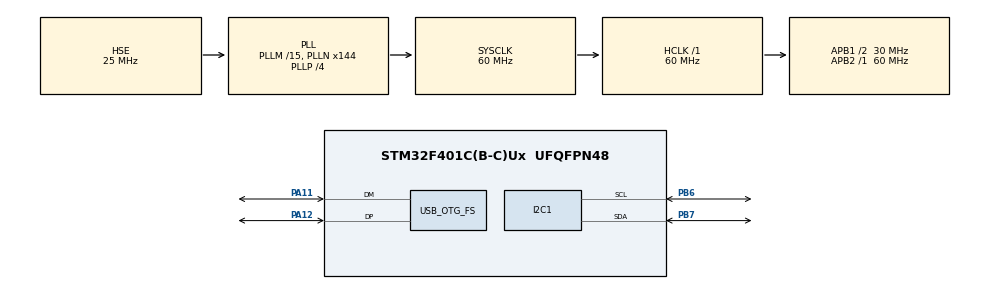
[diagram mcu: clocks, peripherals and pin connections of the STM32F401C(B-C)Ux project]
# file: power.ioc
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I2C1.I2C_Mode=I2C_Fast
Mcu.Family=STM32F4
Mcu.Name=STM32F401C(B-C)Ux
Mcu.Package=UFQFPN48
NVIC.OTG_FS_IRQn=true\:0\:0\:false\:false\:true\:false\:true\:true
NVIC.PriorityGroup=NVIC_PRIORITYGROUP_4
PA11.Mode=Device_Only
PA11.Signal=USB_OTG_FS_DM
PA12.Mode=Device_Only
PA12.Signal=USB_OTG_FS_DP
PA13.Mode=Serial_Wire
PA13.Signal=SYS_JTMS-SWDIO
PA14.Mode=Serial_Wire
PA14.Signal=SYS_JTCK-SWCLK
PB6.Mode=I2C
PB6.Signal=I2C1_SCL
PB7.Mode=I2C
PB7.Signal=I2C1_SDA
PH0\ -\ OSC_IN.Mode=HSE-External-Oscillator
PH0\ -\ OSC_IN.Signal=RCC_OSC_IN
PH1\ -\ OSC_OUT.Mode=HSE-External-Oscillator
PH1\ -\ OSC_OUT.Signal=RCC_OSC_OUT
ProjectManager.HeapSize=0x1000
ProjectManager.StackSize=0x1000
ProjectManager.TargetToolchain=MDK-ARM V5.32
RCC.48MHZClocksFreq_Value=48000000
RCC.AHBFreq_Value=60000000
RCC.APB1CLKDivider=RCC_HCLK_DIV2
RCC.APB1Freq_Value=30000000
RCC.APB1TimFreq_Value=60000000
RCC.APB2Freq_Value=60000000
RCC.APB2TimFreq_Value=60000000
RCC.CortexFreq_Value=60000000
RCC.HCLKFreq_Value=60000000
RCC.HSE_VALUE=25000000
RCC.HSI_VALUE=16000000
RCC.LSE_VALUE=32768
RCC.PLLM=15
RCC.PLLN=144
RCC.PLLP=RCC_PLLP_DIV4
RCC.PLLQ=5
RCC.SYSCLKFreq_VALUE=60000000
RCC.SYSCLKSource=RCC_SYSCLKSOURCE_PLLCLK
RCC.VCOOutputFreq_Value=240000000
USB_DEVICE.CLASS_NAME_FS=CDC
USB_DEVICE.VirtualMode=Cdc
USB_DEVICE.VirtualModeFS=Cdc_FS
USB_OTG_FS.VirtualMode=Device_Only
VP_USB_DEVICE_VS_USB_DEVICE_CDC_FS.Mode=CDC_FS
board=custom

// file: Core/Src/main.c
/* USER CODE BEGIN Header */
/**
  ******************************************************************************
  * @file           : main.c
  * @brief          : Main program body
  ******************************************************************************
  * @attention
  *
  * Copyright (c) 2026 STMicroelectronics.
  * All rights reserved.
  *
  * This software is licensed under terms that can be found in the LICENSE file
  * in the root directory of this software component.
  * If no LICENSE file comes with this software, it is provided AS-IS.
  *
  ******************************************************************************
  */
/* USER CODE END Header */
#include "main.h"
#include "usb_device.h"

/* USER CODE BEGIN Includes */
#include "ssd1306.h"
#include "fonts.h"
#include <stdio.h>
/* USER CODE END Includes */

I2C_HandleTypeDef hi2c1;

/* USER CODE BEGIN PV */
	char usb_rx_buffer[64] = {0}; // Сюда будут падать данные от Python
	volatile uint8_t usb_rx_flag = 0;      // Флаг, что пришли новые данные
	int logi_bat = 0;             // Заряд мыши
	int audeze_bat = 0;           // Заряд наушников
/* USER CODE END PV */

void SystemClock_Config(void);
static void MX_GPIO_Init(void);
static void MX_I2C1_Init(void);

int main(void)
{

  /* MCU Configuration--------------------------------------------------------*/

  /* Reset of all peripherals, Initializes the Flash interface and the Systick. */
  HAL_Init();

  /* Configure the system clock */
  SystemClock_Config();

  /* Initialize all configured peripherals */
  MX_GPIO_Init();
  MX_I2C1_Init();
  MX_USB_DEVICE_Init();
  /* USER CODE BEGIN 2 */

	SSD1306_Init(); // Обязательно включаем экран
	ssd1306_I2C_Write(SSD1306_I2C_ADDR, 0x00, 0xA0);
	ssd1306_I2C_Write(SSD1306_I2C_ADDR, 0x00, 0xC0);
  SSD1306_Fill(0); // Очищаем экран черным цветом (0)

  uint8_t is_connected = 0;          // Флаг получения первого пакета
  uint32_t last_loading_time = 0;    // Таймер для анимации
  uint8_t loading_dots = 0;          // Количество точек (0-3)
  int logi_charge_state = -1;
  int audeze_charge_state = -1;

  /* USER CODE END 2 */

  /* Infinite loop */
  while (1)
  {

    /* USER CODE BEGIN 3 */

      // ==========================================
      // 1. АНИМАЦИЯ ОЖИДАНИЯ (Пока нет данных)
      // ==========================================
      if (is_connected == 0)
      {
          if (HAL_GetTick() - last_loading_time > 400) { // Обновление каждые 400 мс
              last_loading_time = HAL_GetTick();
              loading_dots++;
              if (loading_dots > 3) loading_dots = 0;

              SSD1306_Fill(0); // Очищаем экран

              // Рисуем стильную рамку по краям экрана
              SSD1306_DrawRectangle(0, 0, 128, 64, 1);

              // Анимируем точки
              SSD1306_GotoXY(30, 26);
              if (loading_dots == 0) SSD1306_Puts("LOADING   ", &Font_7x10, 1);
              if (loading_dots == 1) SSD1306_Puts("LOADING.  ", &Font_7x10, 1);
              if (loading_dots == 2) SSD1306_Puts("LOADING.. ", &Font_7x10, 1);
              if (loading_dots == 3) SSD1306_Puts("LOADING...", &Font_7x10, 1);

              SSD1306_UpdateScreen();
          }
      }

      // ==========================================
      // 2. ОБРАБОТКА ДАННЫХ И ОТРИСОВКА ДАШБОРДА
      // ==========================================
      if (usb_rx_flag == 1)
      {
          char time_str[10] = {0};
          char weather_str[10] = {0};

          // L/A - проценты, LC/AC - зарядка: 1 = да, 0 = нет, -1 = неизвестно
          int parsed = sscanf(
              usb_rx_buffer,
              "L%d LC%d A%d AC%d T%9s W%9s",
              &logi_bat,
              &logi_charge_state,
              &audeze_bat,
              &audeze_charge_state,
              time_str,
              weather_str
          );

          if (parsed != 6) {
              usb_rx_flag = 0;
              continue;
          }

          is_connected = 1; // Успешно получили данные, выключаем анимацию загрузки

          SSD1306_Fill(0); // Очищаем буфер дисплея

          // --- Массивы пикселей для иконок (10x10) ---
          const uint8_t icon_mouse[10][10] = {
              {0,0,0,1,1,1,1,0,0,0}, {0,0,1,0,0,0,0,1,0,0}, {0,1,0,0,1,1,0,0,1,0},
              {0,1,0,0,1,1,0,0,1,0}, {0,1,0,0,0,0,0,0,1,0}, {0,1,0,0,0,0,0,0,1,0},
              {0,1,0,0,0,0,0,0,1,0}, {0,0,1,0,0,0,0,1,0,0}, {0,0,0,1,1,1,1,0,0,0},
              {0,0,0,0,0,0,0,0,0,0}
          };

          const uint8_t icon_head[10][10] = {
              {0,0,1,1,1,1,1,1,0,0}, {0,1,0,0,0,0,0,0,1,0}, {1,0,0,0,0,0,0,0,0,1},
              {1,0,0,0,0,0,0,0,0,1}, {1,1,1,0,0,0,0,1,1,1}, {1,1,1,0,0,0,0,1,1,1},
              {1,1,1,0,0,0,0,1,1,1}, {0,1,0,0,0,0,0,0,1,0}, {0,0,0,0,0,0,0,0,0,0},
              {0,0,0,0,0,0,0,0,0,0}
          };

          // Значок молнии (4x8), отображается только при активной зарядке
          const uint8_t icon_charge[8][4] = {
              {0,0,1,1},
              {0,1,1,0},
              {0,1,1,0},
              {1,1,1,1},
              {0,0,1,1},
              {0,0,1,0},
              {0,1,1,0},
              {0,1,0,0}
          };

          // Отрисовка иконок слева
          for(int y = 0; y < 10; y++) {
              for(int x = 0; x < 10; x++) {
                  if(icon_mouse[y][x]) SSD1306_DrawPixel(2 + x, 5 + y, 1);
                  if(icon_head[y][x])  SSD1306_DrawPixel(2 + x, 25 + y, 1);
              }
          }

          // --- Вывод текстовых процентов справа (С ЗАЩИТОЙ ОТ НУЛЕЙ) ---
          char str_logi_val[10];
          char str_aud_val[10];
          char str_bottom[32];

          // Текстовая логика для мыши (0 = спит/нет данных)
          if (logi_bat <= 0) {
              sprintf(str_logi_val, " --%%");
          } else {
              sprintf(str_logi_val, "%d%%", logi_bat);
          }

          // Текстовая логика для наушников (-1 = защита, 0 = спит)
          if (audeze_bat < 0) {
              sprintf(str_aud_val, " "); // Оставляем пустым, текст заглушки будет на месте батареи
          } else if (audeze_bat == 0) {
              sprintf(str_aud_val, " --%%");
          } else {
              sprintf(str_aud_val, "%d%%", audeze_bat);
          }

          SSD1306_GotoXY(88, 5);
          SSD1306_Puts(str_logi_val, &Font_7x10, 1);

          SSD1306_GotoXY(88, 25);
          SSD1306_Puts(str_aud_val, &Font_7x10, 1);

          // Молнии справа от процентов: верхняя — мышь, нижняя — наушники
          for (int y = 0; y < 8; y++) {
              for (int x = 0; x < 4; x++) {
                  if (icon_charge[y][x]) {
                      if (logi_charge_state == 1) {
                          SSD1306_DrawPixel(121 + x, 6 + y, 1);
                      }
                      if (audeze_charge_state == 1) {
                          SSD1306_DrawPixel(121 + x, 26 + y, 1);
                      }
                  }
              }
          }

          // --- Отрисовка графических батареек ---
          int bat_x = 18;

          // 1. Батарейка мыши
          int bat_y = 5;
          for(int x = 0; x < 50; x++) {
              for(int y = 0; y < 10; y++) {
                  if (x == 0 || x == 49 || y == 0 || y == 9) {
                      SSD1306_DrawPixel(bat_x + x, bat_y + y, 1);
                  }
              }
          }
          SSD1306_DrawPixel(bat_x + 50, bat_y + 3, 1);
          SSD1306_DrawPixel(bat_x + 50, bat_y + 4, 1);
          SSD1306_DrawPixel(bat_x + 50, bat_y + 5, 1);
          SSD1306_DrawPixel(bat_x + 50, bat_y + 6, 1);

          // Заливка полосы заряда (только если > 0)
          if (logi_bat > 0) {
              int logi_fill = (logi_bat * 46) / 100;
              if (logi_fill > 46) logi_fill = 46;
              for(int x = 2; x < 2 + logi_fill; x++) {
                  for(int y = 2; y < 8; y++) {
                      SSD1306_DrawPixel(bat_x + x, bat_y + y, 1);
                  }
              }
          }

          // 2. Батарейка наушников
          bat_y = 25;
          if (audeze_bat < 0) {
              // Выводим нашу стильную заглушку вместо контура батареи
              SSD1306_GotoXY(bat_x - 3, bat_y + 1);
              SSD1306_Puts("USE AUD HQ", &Font_7x10, 1);
          } else {
              for(int x = 0; x < 50; x++) {
                  for(int y = 0; y < 10; y++) {
                      if (x == 0 || x == 49 || y == 0 || y == 9) {
                          SSD1306_DrawPixel(bat_x + x, bat_y + y, 1);
                      }
                  }
              }
              SSD1306_DrawPixel(bat_x + 50, bat_y + 3, 1);
              SSD1306_DrawPixel(bat_x + 50, bat_y + 4, 1);
              SSD1306_DrawPixel(bat_x + 50, bat_y + 5, 1);
              SSD1306_DrawPixel(bat_x + 50, bat_y + 6, 1);

              // Заливка полосы заряда (только если > 0)
              if (audeze_bat > 0) {
                  int aud_fill = (audeze_bat * 46) / 100;
                  if (aud_fill > 46) aud_fill = 46;
                  for(int x = 2; x < 2 + aud_fill; x++) {
                      for(int y = 2; y < 8; y++) {
                          SSD1306_DrawPixel(bat_x + x, bat_y + y, 1);
                      }
                  }
              }
          }

          // --- Подвал (Разделитель, время и погода) ---
          SSD1306_GotoXY(0, 35);
          SSD1306_Puts("__________________", &Font_7x10, 1);

          int len = sprintf(str_bottom, "Time:%s  %s", time_str, weather_str);

          SSD1306_GotoXY(2, 52);
          SSD1306_Puts(str_bottom, &Font_7x10, 1);

          int deg_x = 2 + (len * 7);
          int deg_y = 52;

          SSD1306_DrawPixel(deg_x, deg_y, 1);
          SSD1306_DrawPixel(deg_x + 1, deg_y, 1);
          SSD1306_DrawPixel(deg_x, deg_y + 1, 1);
          SSD1306_DrawPixel(deg_x + 1, deg_y + 1, 1);

          SSD1306_GotoXY(deg_x + 3, 52);
          SSD1306_Puts("C", &Font_7x10, 1);

          // Отправка кадра в дисплей и сброс флага приема
          SSD1306_UpdateScreen();
          usb_rx_flag = 0;
      }
  }
  /* USER CODE END 3 */
}

void SystemClock_Config(void)
{
  RCC_OscInitTypeDef RCC_OscInitStruct = {0};
  RCC_ClkInitTypeDef RCC_ClkInitStruct = {0};

  /** Configure the main internal regulator output voltage
  */
  __HAL_RCC_PWR_CLK_ENABLE();
  __HAL_PWR_VOLTAGESCALING_CONFIG(PWR_REGULATOR_VOLTAGE_SCALE2);

  /** Initializes the RCC Oscillators according to the specified parameters
  * in the RCC_OscInitTypeDef structure.
  */
  RCC_OscInitStruct.OscillatorType = RCC_OSCILLATORTYPE_HSE;
  RCC_OscInitStruct.HSEState = RCC_HSE_ON;
  RCC_OscInitStruct.PLL.PLLState = RCC_PLL_ON;
  RCC_OscInitStruct.PLL.PLLSource = RCC_PLLSOURCE_HSE;
  RCC_OscInitStruct.PLL.PLLM = 15;
  RCC_OscInitStruct.PLL.PLLN = 144;
  RCC_OscInitStruct.PLL.PLLP = RCC_PLLP_DIV4;
  RCC_OscInitStruct.PLL.PLLQ = 5;
  if (HAL_RCC_OscConfig(&RCC_OscInitStruct) != HAL_OK)
  {
    Error_Handler();
  }

  /** Initializes the CPU, AHB and APB buses clocks
  */
  RCC_ClkInitStruct.ClockType = RCC_CLOCKTYPE_HCLK|RCC_CLOCKTYPE_SYSCLK
                              |RCC_CLOCKTYPE_PCLK1|RCC_CLOCKTYPE_PCLK2;
  RCC_ClkInitStruct.SYSCLKSource = RCC_SYSCLKSOURCE_PLLCLK;
  RCC_ClkInitStruct.AHBCLKDivider = RCC_SYSCLK_DIV1;
  RCC_ClkInitStruct.APB1CLKDivider = RCC_HCLK_DIV2;
  RCC_ClkInitStruct.APB2CLKDivider = RCC_HCLK_DIV1;

  if (HAL_RCC_ClockConfig(&RCC_ClkInitStruct, FLASH_LATENCY_1) != HAL_OK)
  {
    Error_Handler();
  }
}

static void MX_I2C1_Init(void)
{

  hi2c1.Instance = I2C1;
  hi2c1.Init.ClockSpeed = 400000;
  hi2c1.Init.DutyCycle = I2C_DUTYCYCLE_2;
  hi2c1.Init.OwnAddress1 = 0;
  hi2c1.Init.AddressingMode = I2C_ADDRESSINGMODE_7BIT;
  hi2c1.Init.DualAddressMode = I2C_DUALADDRESS_DISABLE;
  hi2c1.Init.OwnAddress2 = 0;
  hi2c1.Init.GeneralCallMode = I2C_GENERALCALL_DISABLE;
  hi2c1.Init.NoStretchMode = I2C_NOSTRETCH_DISABLE;
  if (HAL_I2C_Init(&hi2c1) != HAL_OK)
  {
    Error_Handler();
  }

}

static void MX_GPIO_Init(void)
{

  /* GPIO Ports Clock Enable */
  __HAL_RCC_GPIOH_CLK_ENABLE();
  __HAL_RCC_GPIOA_CLK_ENABLE();
  __HAL_RCC_GPIOB_CLK_ENABLE();

}

void Error_Handler(void)
{
  __disable_irq();
  while (1)
  {
  }
}
